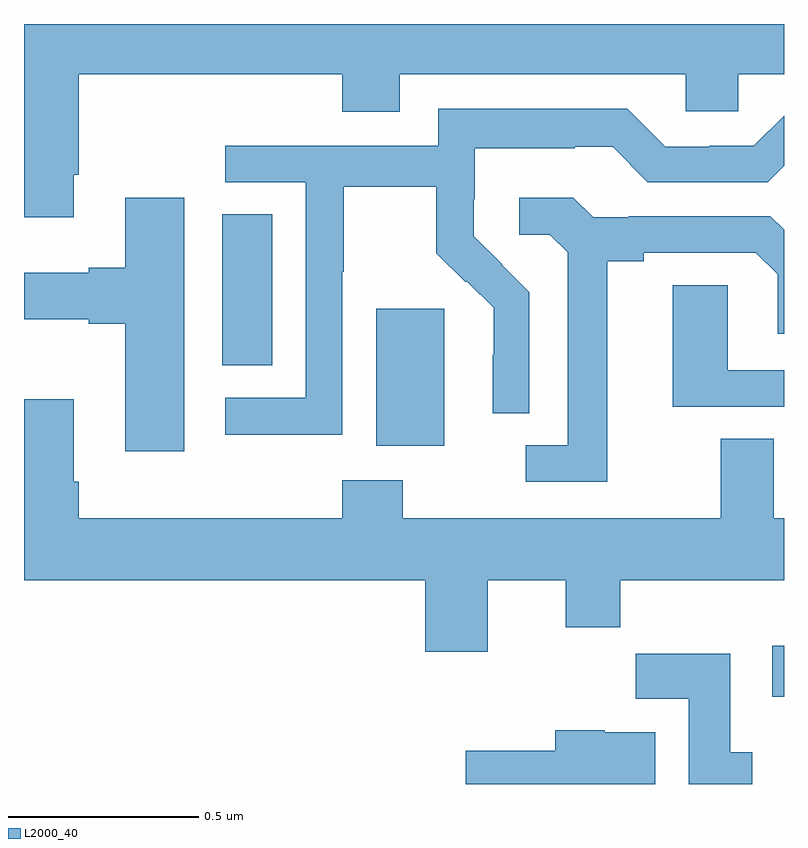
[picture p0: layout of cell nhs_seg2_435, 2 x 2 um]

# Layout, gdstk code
import gdstk
lib = gdstk.Library(unit=1e-6, precision=1e-09)
def R(c, l, rs):  # rectangles x0, y0, x1, y1
    for r in rs: c.add(gdstk.rectangle(r[:2], r[2:], *l))
def P(c, l, *ps):  # polygons
    for p in ps: c.add(gdstk.Polygon(p, *l))
L2000_40 = (2000, 40)

nhs_seg2_435 = lib.new_cell('nhs_seg2_435')
R(nhs_seg2_435, L2000_40, [(117.969,614.03,118,614.164), (116.927,614.69,117.106,615.051), (116.522,614.902,116.653,615.299)])
P(nhs_seg2_435, L2000_40, [(116.131,615.403),(116.144,615.403),(116.144,615.668),(116.837,615.668),(116.837,615.569),(116.989,615.569),(116.989,615.668),(117.741,615.668),(117.741,615.57),(117.879,615.57),(117.879,615.668),(118,615.668),(118,615.8),(116,615.8),(116,615.291),(116.131,615.291)],
  [(116.838,615.148),(116.841,615.148),(116.841,615.372),(117.085,615.372),(117.085,615.197),(117.162,615.12),(117.165,615.123),(117.236,615.053),(117.236,614.93),(117.234,614.93),(117.234,614.776),(117.33,614.776),(117.33,615.094),(117.257,615.167),(117.258,615.168),(117.184,615.242),(117.184,615.339),(117.186,615.339),(117.186,615.473),(117.449,615.473),(117.449,615.477),(117.549,615.477),(117.642,615.384),(117.957,615.384),(118,615.427),(118,615.559),(117.921,615.48),(117.803,615.48),(117.803,615.477),(117.687,615.477),(117.587,615.577),(117.09,615.577),(117.09,615.48),(116.529,615.48),(116.529,615.384),(116.742,615.384),(116.742,614.817),(116.529,614.817),(116.529,614.719),(116.838,614.719)],
  [(116.422,615.343),(116.267,615.343),(116.267,615.158),(116.171,615.158),(116.171,615.145),(116,615.145),(116,615.023),(116.171,615.023),(116.171,615.011),(116.267,615.011),(116.267,614.676),(116.422,614.676)],
  [(117.535,615.176),(117.631,615.176),(117.631,615.198),(117.926,615.198),(117.983,615.141),(117.983,614.985),(118,614.985),(118,615.258),(117.964,615.294),(117.592,615.294),(117.592,615.291),(117.498,615.291),(117.446,615.343),(117.303,615.343),(117.303,615.246),(117.384,615.246),(117.431,615.199),(117.431,614.691),(117.321,614.691),(117.321,614.595),(117.535,614.595)],
  [(118,614.889),(117.852,614.889),(117.852,615.113),(117.707,615.113),(117.707,614.793),(118,614.793)],
  [(117.22,614.336),(117.425,614.336),(117.425,614.212),(117.569,614.212),(117.569,614.336),(118,614.336),(118,614.5),(117.973,614.5),(117.973,614.708),(117.833,614.708),(117.833,614.5),(116.997,614.5),(116.997,614.599),(116.837,614.599),(116.837,614.5),(116.144,614.5),(116.144,614.596),(116.131,614.596),(116.131,614.812),(116,614.812),(116,614.336),(117.056,614.336),(117.056,614.148),(117.22,614.148)],
  [(117.916,613.884),(117.859,613.884),(117.859,614.143),(117.61,614.143),(117.61,614.024),(117.749,614.024),(117.749,613.8),(117.916,613.8)],
  [(117.661,613.936),(117.528,613.936),(117.528,613.942),(117.398,613.942),(117.398,613.888),(117.162,613.888),(117.162,613.8),(117.661,613.8)])

lib.write_gds('nhs_seg2_435.gds')
